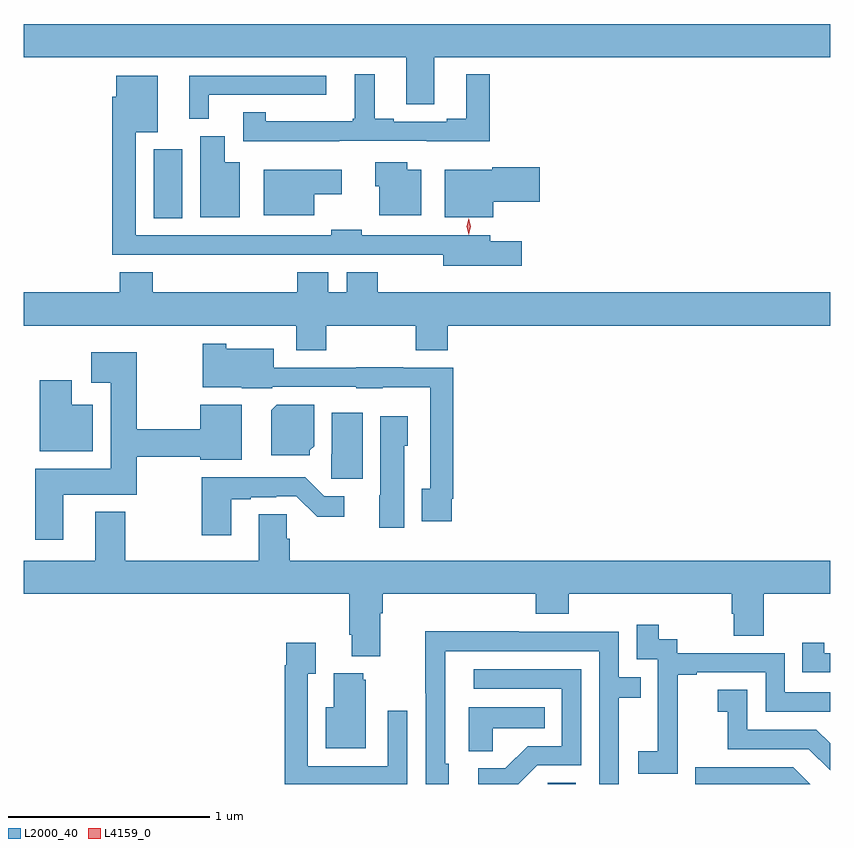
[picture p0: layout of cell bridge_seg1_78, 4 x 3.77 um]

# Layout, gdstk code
import gdstk
lib = gdstk.Library(unit=1e-6, precision=1e-09)
def R(c, l, rs):  # rectangles x0, y0, x1, y1
    for r in rs: c.add(gdstk.rectangle(r[:2], r[2:], *l))
def P(c, l, *ps):  # polygons
    for p in ps: c.add(gdstk.Polygon(p, *l))
L2000_40 = (2000, 40)
L4159_0 = (4159, 0)

bridge_seg1_78 = lib.new_cell('bridge_seg1_78')
R(bridge_seg1_78, L2000_40, [(603.762,513.493,603.901,513.5), (601.805,516.301,601.948,516.643)])
P(bridge_seg1_78, L2000_40, [(603.199,517.1),(605.162,517.1),(605.162,517.264),(601.162,517.264),(601.162,517.1),(603.059,517.1),(603.059,516.865),(603.199,516.865)],
  [(602.727,516.684),(603.16,516.684),(603.16,516.683),(603.473,516.683),(603.473,517.015),(603.356,517.015),(603.356,516.793),(603.26,516.793),(603.26,516.78),(602.998,516.78),(602.998,516.793),(602.902,516.793),(602.902,517.015),(602.804,517.015),(602.804,516.793),(602.793,516.793),(602.793,516.781),(602.363,516.781),(602.363,516.827),(602.25,516.827),(602.25,516.683),(602.727,516.683)],
  [(602.08,516.912),(602.662,516.912),(602.662,517.008),(601.982,517.008),(601.982,516.793),(602.08,516.793)],
  [(603.631,516.187),(603.475,516.187),(603.475,516.216),(602.838,516.216),(602.838,516.244),(602.688,516.244),(602.688,516.216),(601.716,516.216),(601.716,516.728),(601.825,516.728),(601.825,517.006),(601.619,517.006),(601.619,516.902),(601.6,516.902),(601.6,516.12),(601.885,516.12),(601.885,516.119),(602.435,516.119),(602.435,516.12),(602.938,516.12),(602.938,516.119),(603.242,516.119),(603.242,516.065),(603.631,516.065)],
  [(602.233,516.577),(602.158,516.577),(602.158,516.708),(602.036,516.708),(602.036,516.305),(602.233,516.305)],
  [(603.133,516.541),(603.064,516.541),(603.064,516.577),(602.906,516.577),(602.906,516.459),(602.924,516.459),(602.924,516.314),(603.133,516.314)],
  [(603.49,516.383),(603.721,516.383),(603.721,516.554),(603.486,516.554),(603.486,516.541),(603.251,516.541),(603.251,516.305),(603.49,516.305)],
  [(602.602,516.419),(602.74,516.419),(602.74,516.541),(602.351,516.541),(602.351,516.314),(602.602,516.314)],
  [(602.661,515.768),(603.106,515.768),(603.106,515.644),(603.266,515.644),(603.266,515.768),(605.162,515.768),(605.162,515.932),(602.918,515.932),(602.918,516.031),(602.765,516.031),(602.765,515.932),(602.671,515.932),(602.671,516.031),(602.519,516.031),(602.519,515.932),(601.802,515.932),(601.802,516.031),(601.637,516.031),(601.637,515.932),(601.162,515.932),(601.162,515.768),(602.513,515.768),(602.513,515.644),(602.661,515.644)],
  [(603.286,514.909),(603.293,514.909),(603.293,515.559),(603.043,515.559),(603.043,515.561),(602.811,515.561),(602.811,515.559),(602.401,515.559),(602.401,515.653),(602.166,515.653),(602.166,515.677),(602.05,515.677),(602.05,515.462),(602.244,515.462),(602.244,515.456),(602.394,515.456),(602.394,515.463),(602.811,515.463),(602.811,515.456),(602.943,515.456),(602.943,515.462),(603.177,515.462),(603.177,514.958),(603.137,514.958),(603.137,514.797),(603.286,514.797)],
  [(601.357,514.928),(601.722,514.928),(601.722,515.116),(602.036,515.116),(602.036,515.102),(602.242,515.102),(602.242,515.374),(602.036,515.374),(602.036,515.252),(601.722,515.252),(601.722,515.635),(601.497,515.635),(601.497,515.483),(601.592,515.483),(601.592,515.056),(601.217,515.056),(601.217,514.704),(601.357,514.704)],
  [(601.504,515.374),(601.399,515.374),(601.399,515.496),(601.241,515.496),(601.241,515.144),(601.504,515.144)],
  [(602.58,515.148),(602.602,515.17),(602.602,515.374),(602.416,515.374),(602.39,515.348),(602.39,515.123),(602.58,515.123)],
  [(602.842,515.335),(602.69,515.335),(602.69,515.13),(602.686,515.13),(602.686,515.007),(602.842,515.007)],
  [(603.049,515.172),(603.067,515.172),(603.067,515.317),(602.93,515.317),(602.93,514.926),(602.924,514.926),(602.924,514.764),(603.049,514.764)],
  [(602.191,514.905),(602.287,514.905),(602.287,514.917),(602.414,514.917),(602.414,514.92),(602.514,514.92),(602.617,514.818),(602.752,514.818),(602.752,514.92),(602.652,514.92),(602.558,515.014),(602.044,515.014),(602.044,514.728),(602.191,514.728)],
  [(602.929,514.34),(602.942,514.34),(602.942,514.436),(603.701,514.436),(603.701,514.337),(603.866,514.337),(603.866,514.436),(604.673,514.436),(604.673,514.338),(604.685,514.338),(604.685,514.228),(604.833,514.228),(604.833,514.436),(605.162,514.436),(605.162,514.6),(602.48,514.6),(602.48,514.71),(602.466,514.71),(602.466,514.832),(602.327,514.832),(602.327,514.6),(601.665,514.6),(601.665,514.843),(601.517,514.843),(601.517,514.6),(601.162,514.6),(601.162,514.436),(602.777,514.436),(602.777,514.234),(602.789,514.234),(602.789,514.127),(602.929,514.127)],
  [(604.407,513.751),(604.406,513.751),(604.406,514.035),(604.501,514.035),(604.501,514.047),(604.842,514.047),(604.842,513.852),(605.162,513.852),(605.162,513.948),(604.938,513.948),(604.938,514.143),(604.404,514.143),(604.404,514.212),(604.312,514.212),(604.312,514.282),(604.203,514.282),(604.203,514.113),(604.308,514.113),(604.308,513.884),(604.307,513.884),(604.307,513.655),(604.209,513.655),(604.209,513.545),(604.407,513.545)],
  [(603.271,513.594),(603.252,513.594),(603.252,514.152),(604.017,514.152),(604.017,513.493),(604.113,513.493),(604.113,513.922),(604.223,513.922),(604.223,514.023),(604.113,514.023),(604.113,514.248),(603.617,514.248),(603.617,514.25),(603.154,514.25),(603.154,513.943),(603.156,513.943),(603.156,513.493),(603.271,513.493)],
  [(603.063,513.856),(602.967,513.856),(602.967,513.582),(602.571,513.582),(602.571,514.039),(602.611,514.039),(602.611,514.195),(602.463,514.195),(602.463,514.082),(602.455,514.082),(602.455,513.493),(603.063,513.493)],
  [(605.162,514.143),(605.134,514.143),(605.134,514.195),(605.023,514.195),(605.023,514.047),(605.162,514.047)],
  [(603.708,513.585),(603.927,513.585),(603.927,514.062),(603.393,514.062),(603.393,513.966),(603.831,513.966),(603.831,513.681),(603.662,513.681),(603.551,513.57),(603.417,513.57),(603.417,513.493),(603.616,513.493)],
  [(602.857,514.011),(602.846,514.011),(602.846,514.042),(602.699,514.042),(602.699,513.874),(602.66,513.874),(602.66,513.671),(602.857,513.671)],
  [(605.162,513.694),(605.094,513.762),(604.752,513.762),(604.752,513.961),(604.605,513.961),(604.605,513.851),(604.654,513.851),(604.654,513.666),(605.057,513.666),(605.162,513.561)],
  [(603.489,513.77),(603.746,513.77),(603.746,513.874),(603.368,513.874),(603.368,513.655),(603.489,513.655)],
  [(604.98,513.576),(604.494,513.576),(604.494,513.493),(605.063,513.493)])
P(bridge_seg1_78, L4159_0, [(603.37,516.219),(603.37,516.219),(603.36,516.26),(603.37,516.3),(603.37,516.3),(603.37,516.3),(603.38,516.26),(603.37,516.219)])

lib.write_gds('bridge_seg1_78.gds')
